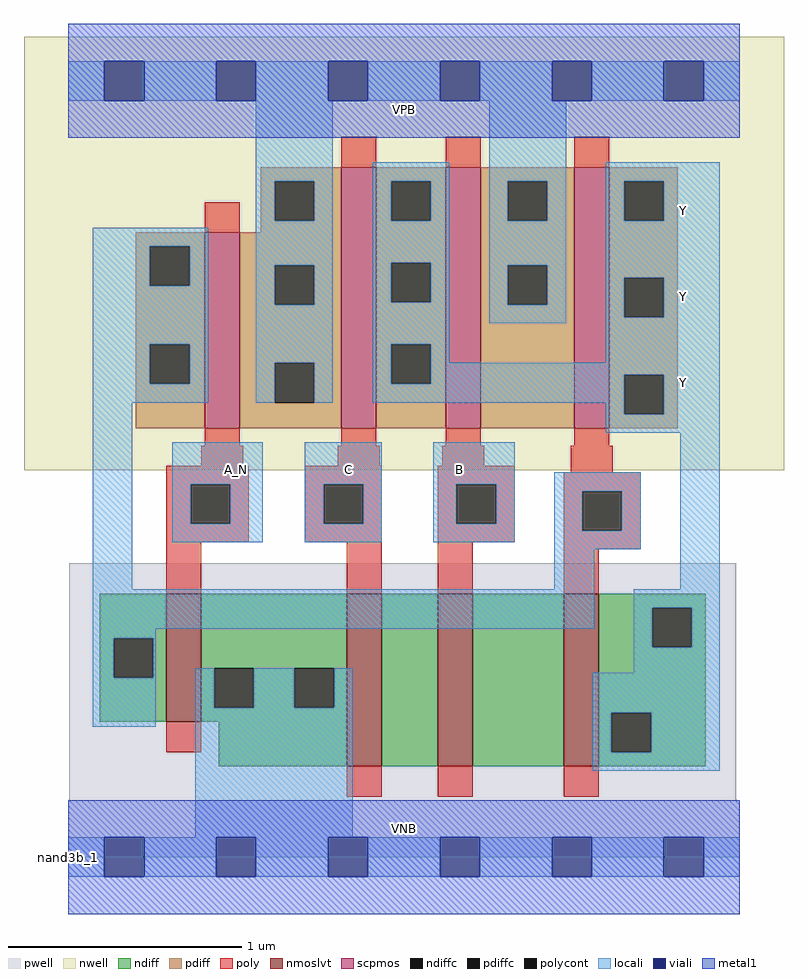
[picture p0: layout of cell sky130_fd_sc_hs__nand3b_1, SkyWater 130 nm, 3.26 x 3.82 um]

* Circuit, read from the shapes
.subckt sky130_fd_sc_hs__nand3b_1 A_N B C VGND VNB VPB VPWR Y
XM1 VGND A_N n1 VNB sky130_fd_pr__nfet_01v8_lvt w=0.55 l=0.15
XM2 n2 C VGND VNB sky130_fd_pr__nfet_01v8_lvt w=0.74 l=0.15
XM3 n3 B n2 VNB sky130_fd_pr__nfet_01v8_lvt w=0.74 l=0.15
XM4 Y n1 n3 VNB sky130_fd_pr__nfet_01v8_lvt w=0.74 l=0.15
XM5 VPWR A_N n1 VPB sky130_fd_pr__pfet_01v8 w=0.84 l=0.15
XM6 Y C VPWR VPB sky130_fd_pr__pfet_01v8 w=1.12 l=0.15
XM7 VPWR B Y VPB sky130_fd_pr__pfet_01v8 w=1.12 l=0.15
XM8 Y n1 VPWR VPB sky130_fd_pr__pfet_01v8 w=1.12 l=0.15
.ends

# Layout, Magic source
magic
tech sky130A
magscale 1 2
<< nwell >>
rect -38 332 614 704
<< pwell >>
rect 1 49 573 252
rect 0 0 576 49
<< scpmos >>
rect 117 368 147 536
rect 234 368 264 592
rect 324 368 354 592
rect 434 368 464 592
<< nmoslvt >>
rect 84 116 114 226
rect 239 78 269 226
rect 317 78 347 226
rect 425 78 455 226
<< ndiff >>
rect 27 188 84 226
rect 27 154 39 188
rect 73 154 84 188
rect 27 116 84 154
rect 114 162 239 226
rect 114 128 125 162
rect 159 128 194 162
rect 228 128 239 162
rect 114 116 239 128
rect 129 78 239 116
rect 269 78 317 226
rect 347 78 425 226
rect 455 214 547 226
rect 455 180 501 214
rect 535 180 547 214
rect 455 124 547 180
rect 455 90 466 124
rect 500 90 547 124
rect 455 78 547 90
<< pdiff >>
rect 165 580 234 592
rect 165 546 177 580
rect 211 546 234 580
rect 165 536 234 546
rect 58 524 117 536
rect 58 490 70 524
rect 104 490 117 524
rect 58 440 117 490
rect 58 406 70 440
rect 104 406 117 440
rect 58 368 117 406
rect 147 508 234 536
rect 147 474 177 508
rect 211 474 234 508
rect 147 424 234 474
rect 147 390 177 424
rect 211 390 234 424
rect 147 368 234 390
rect 264 580 324 592
rect 264 546 277 580
rect 311 546 324 580
rect 264 510 324 546
rect 264 476 277 510
rect 311 476 324 510
rect 264 440 324 476
rect 264 406 277 440
rect 311 406 324 440
rect 264 368 324 406
rect 354 580 434 592
rect 354 546 377 580
rect 411 546 434 580
rect 354 508 434 546
rect 354 474 377 508
rect 411 474 434 508
rect 354 368 434 474
rect 464 580 523 592
rect 464 546 477 580
rect 511 546 523 580
rect 464 497 523 546
rect 464 463 477 497
rect 511 463 523 497
rect 464 414 523 463
rect 464 380 477 414
rect 511 380 523 414
rect 464 368 523 380
<< ndiffc >>
rect 39 154 73 188
rect 125 128 159 162
rect 194 128 228 162
rect 501 180 535 214
rect 466 90 500 124
<< pdiffc >>
rect 177 546 211 580
rect 70 490 104 524
rect 70 406 104 440
rect 177 474 211 508
rect 177 390 211 424
rect 277 546 311 580
rect 277 476 311 510
rect 277 406 311 440
rect 377 546 411 580
rect 377 474 411 508
rect 477 546 511 580
rect 477 463 511 497
rect 477 380 511 414
<< poly >>
rect 234 592 264 618
rect 324 592 354 618
rect 434 592 464 618
rect 117 536 147 562
rect 117 353 147 368
rect 234 353 264 368
rect 324 353 354 368
rect 434 353 464 368
rect 114 336 150 353
rect 231 336 267 353
rect 321 336 357 353
rect 84 320 155 336
rect 84 286 105 320
rect 139 286 155 320
rect 84 270 155 286
rect 203 320 269 336
rect 203 286 219 320
rect 253 286 269 320
rect 203 270 269 286
rect 84 226 114 270
rect 239 226 269 270
rect 317 320 383 336
rect 431 330 467 353
rect 317 286 333 320
rect 367 286 383 320
rect 317 270 383 286
rect 425 314 491 330
rect 425 280 441 314
rect 475 280 491 314
rect 317 226 347 270
rect 425 264 491 280
rect 425 226 455 264
rect 84 90 114 116
rect 239 52 269 78
rect 317 52 347 78
rect 425 52 455 78
<< polycont >>
rect 105 286 139 320
rect 219 286 253 320
rect 333 286 367 320
rect 441 280 475 314
<< locali >>
rect 0 649 31 683
rect 65 649 127 683
rect 161 649 223 683
rect 257 649 319 683
rect 353 649 415 683
rect 449 649 511 683
rect 545 649 576 683
rect 161 580 227 649
rect 161 546 177 580
rect 211 546 227 580
rect 21 524 120 540
rect 21 490 70 524
rect 104 490 120 524
rect 21 440 120 490
rect 21 406 70 440
rect 104 406 120 440
rect 21 390 120 406
rect 161 508 227 546
rect 161 474 177 508
rect 211 474 227 508
rect 161 424 227 474
rect 161 390 177 424
rect 211 390 227 424
rect 261 580 327 596
rect 261 546 277 580
rect 311 546 327 580
rect 261 510 327 546
rect 261 476 277 510
rect 311 476 327 510
rect 261 440 327 476
rect 361 580 427 649
rect 361 546 377 580
rect 411 546 427 580
rect 361 508 427 546
rect 361 474 377 508
rect 411 474 427 508
rect 361 458 427 474
rect 461 580 559 596
rect 461 546 477 580
rect 511 546 559 580
rect 461 497 559 546
rect 461 463 477 497
rect 511 463 559 497
rect 261 406 277 440
rect 311 424 327 440
rect 461 424 559 463
rect 311 414 559 424
rect 311 406 477 414
rect 261 390 477 406
rect 21 230 55 390
rect 461 380 477 390
rect 511 380 559 414
rect 461 364 559 380
rect 89 320 167 356
rect 89 286 105 320
rect 139 286 167 320
rect 89 270 167 286
rect 203 320 269 356
rect 203 286 219 320
rect 253 286 269 320
rect 203 270 269 286
rect 313 320 383 356
rect 313 286 333 320
rect 367 286 383 320
rect 313 270 383 286
rect 417 314 491 330
rect 417 280 441 314
rect 475 280 491 314
rect 417 264 491 280
rect 417 230 451 264
rect 525 230 559 364
rect 21 196 451 230
rect 485 214 559 230
rect 21 188 75 196
rect 21 154 39 188
rect 73 154 75 188
rect 485 180 501 214
rect 535 180 559 214
rect 21 112 75 154
rect 109 128 125 162
rect 159 128 194 162
rect 228 128 244 162
rect 485 158 559 180
rect 109 17 244 128
rect 450 124 559 158
rect 450 90 466 124
rect 500 90 559 124
rect 450 74 559 90
rect 0 -17 31 17
rect 65 -17 127 17
rect 161 -17 223 17
rect 257 -17 319 17
rect 353 -17 415 17
rect 449 -17 511 17
rect 545 -17 576 17
<< viali >>
rect 31 649 65 683
rect 127 649 161 683
rect 223 649 257 683
rect 319 649 353 683
rect 415 649 449 683
rect 511 649 545 683
rect 31 -17 65 17
rect 127 -17 161 17
rect 223 -17 257 17
rect 319 -17 353 17
rect 415 -17 449 17
rect 511 -17 545 17
<< metal1 >>
rect 0 683 576 715
rect 0 649 31 683
rect 65 649 127 683
rect 161 649 223 683
rect 257 649 319 683
rect 353 649 415 683
rect 449 649 511 683
rect 545 649 576 683
rect 0 617 576 649
rect 0 17 576 49
rect 0 -17 31 17
rect 65 -17 127 17
rect 161 -17 223 17
rect 257 -17 319 17
rect 353 -17 415 17
rect 449 -17 511 17
rect 545 -17 576 17
rect 0 -49 576 -17
<< labels >>
rlabel comment s 0 0 0 0 4 nand3b_1
flabel pwell s 0 0 576 49 0 FreeSans 200 0 0 0 VNB
port 5 nsew ground bidirectional
flabel nwell s 0 617 576 666 0 FreeSans 200 0 0 0 VPB
port 6 nsew power bidirectional
flabel metal1 s 0 617 576 666 0 FreeSans 340 0 0 0 VPWR
port 7 nsew power bidirectional
flabel metal1 s 0 0 576 49 0 FreeSans 340 0 0 0 VGND
port 4 nsew ground bidirectional
flabel locali s 127 316 161 350 0 FreeSans 340 0 0 0 A_N
port 1 nsew signal input
flabel locali s 223 316 257 350 0 FreeSans 340 0 0 0 C
port 3 nsew signal input
flabel locali s 511 390 545 424 0 FreeSans 340 0 0 0 Y
port 8 nsew signal output
flabel locali s 511 464 545 498 0 FreeSans 340 0 0 0 Y
port 8 nsew signal output
flabel locali s 511 538 545 572 0 FreeSans 340 0 0 0 Y
port 8 nsew signal output
flabel locali s 319 316 353 350 0 FreeSans 340 0 0 0 B
port 2 nsew signal input
<< properties >>
string LEFsite unit
string LEFclass CORE
string FIXED_BBOX 0 0 576 666
string GDS_FILE $PDKPATH/libs.ref/sky130_fd_sc_hs/gds/sky130_fd_sc_hs.gds
string LEFsymmetry X Y
string GDS_END 1719184
string GDS_START 1713548
<< end >>
